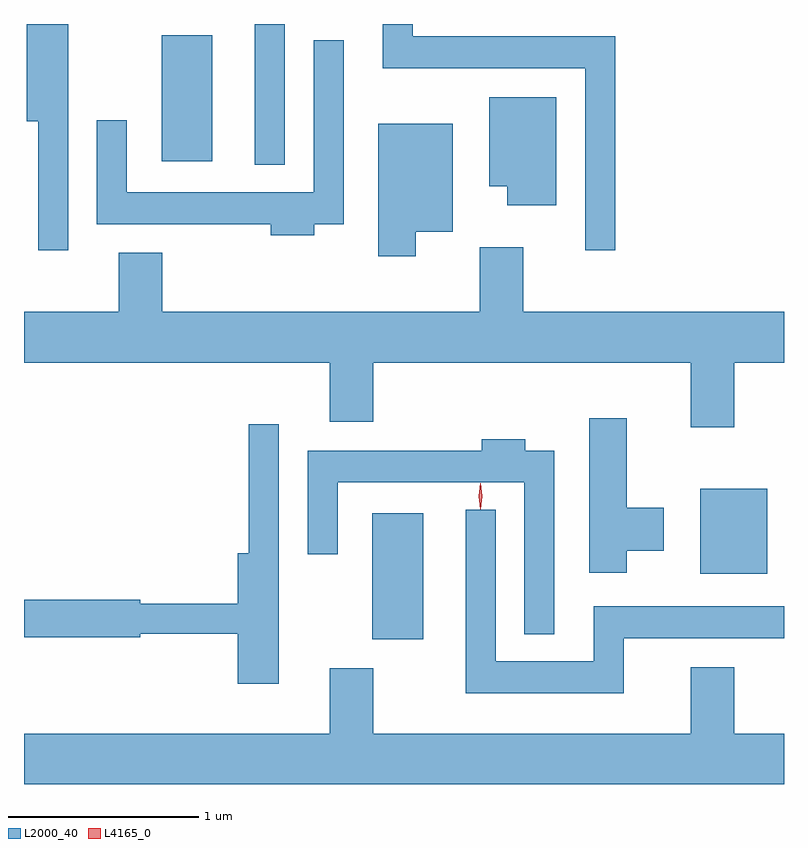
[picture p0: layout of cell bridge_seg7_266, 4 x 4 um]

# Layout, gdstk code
import gdstk
lib = gdstk.Library(unit=1e-6, precision=1e-09)
def R(c, l, rs):  # rectangles x0, y0, x1, y1
    for r in rs: c.add(gdstk.rectangle(r[:2], r[2:], *l))
def P(c, l, *ps):  # polygons
    for p in ps: c.add(gdstk.Polygon(p, *l))
L2000_40 = (2000, 40)
L4165_0 = (4165, 0)

bridge_seg7_266 = lib.new_cell('bridge_seg7_266')
R(bridge_seg7_266, L2000_40, [(1257.556,1795.001,1257.824,1795.664), (1259.281,1795.346,1259.634,1795.794), (1256.936,1797.498,1257.094,1798.239), (1256.446,1797.516,1256.714,1798.179)])
P(bridge_seg7_266, L2000_40, [(1258.834,1798.174),(1257.769,1798.174),(1257.769,1798.239),(1257.611,1798.239),(1257.611,1798.006),(1258.676,1798.006),(1258.676,1797.048),(1258.834,1797.048)],
  [(1255.954,1798.239),(1255.736,1798.239),(1255.736,1797.726),(1255.796,1797.726),(1255.796,1797.048),(1255.954,1797.048)],
  [(1257.249,1797.186),(1257.404,1797.186),(1257.404,1798.153),(1257.246,1798.153),(1257.246,1797.354),(1256.264,1797.354),(1256.264,1797.733),(1256.106,1797.733),(1256.106,1797.186),(1257.021,1797.186),(1257.021,1797.126),(1257.249,1797.126)],
  [(1258.524,1797.854),(1258.171,1797.854),(1258.171,1797.386),(1258.266,1797.386),(1258.266,1797.286),(1258.524,1797.286)],
  [(1257.784,1797.146),(1257.979,1797.146),(1257.979,1797.714),(1257.586,1797.714),(1257.586,1797.016),(1257.784,1797.016)],
  [(1259.459,1796.456),(1259.722,1796.456),(1259.722,1796.724),(1258.349,1796.724),(1258.349,1797.064),(1258.121,1797.064),(1258.121,1796.724),(1256.449,1796.724),(1256.449,1797.034),(1256.221,1797.034),(1256.221,1796.724),(1255.722,1796.724),(1255.722,1796.456),(1257.331,1796.456),(1257.331,1796.146),(1257.559,1796.146),(1257.559,1796.456),(1259.231,1796.456),(1259.231,1796.116),(1259.459,1796.116)],
  [(1258.894,1795.466),(1259.089,1795.466),(1259.089,1795.694),(1258.894,1795.694),(1258.894,1796.164),(1258.696,1796.164),(1258.696,1795.351),(1258.894,1795.351)],
  [(1257.064,1796.133),(1256.906,1796.133),(1256.906,1795.454),(1256.846,1795.454),(1256.846,1795.189),(1256.334,1795.189),(1256.334,1795.209),(1255.722,1795.209),(1255.722,1795.011),(1256.334,1795.011),(1256.334,1795.031),(1256.846,1795.031),(1256.846,1794.766),(1257.064,1794.766)],
  [(1258.514,1795.994),(1258.359,1795.994),(1258.359,1796.054),(1258.131,1796.054),(1258.131,1795.994),(1257.216,1795.994),(1257.216,1795.448),(1257.374,1795.448),(1257.374,1795.826),(1258.356,1795.826),(1258.356,1795.028),(1258.514,1795.028)],
  [(1258.879,1795.006),(1259.722,1795.006),(1259.722,1795.174),(1258.721,1795.174),(1258.721,1794.884),(1258.204,1794.884),(1258.204,1795.683),(1258.046,1795.683),(1258.046,1794.716),(1258.879,1794.716)],
  [(1259.722,1794.504),(1259.459,1794.504),(1259.459,1794.854),(1259.231,1794.854),(1259.231,1794.504),(1257.559,1794.504),(1257.559,1794.849),(1257.331,1794.849),(1257.331,1794.504),(1255.722,1794.504),(1255.722,1794.239),(1259.722,1794.239)])
P(bridge_seg7_266, L4165_0, [(1258.124,1795.684),(1258.115,1795.753),(1258.124,1795.822),(1258.125,1795.823),(1258.126,1795.822),(1258.135,1795.753),(1258.126,1795.684),(1258.125,1795.684)])

lib.write_gds('bridge_seg7_266.gds')
